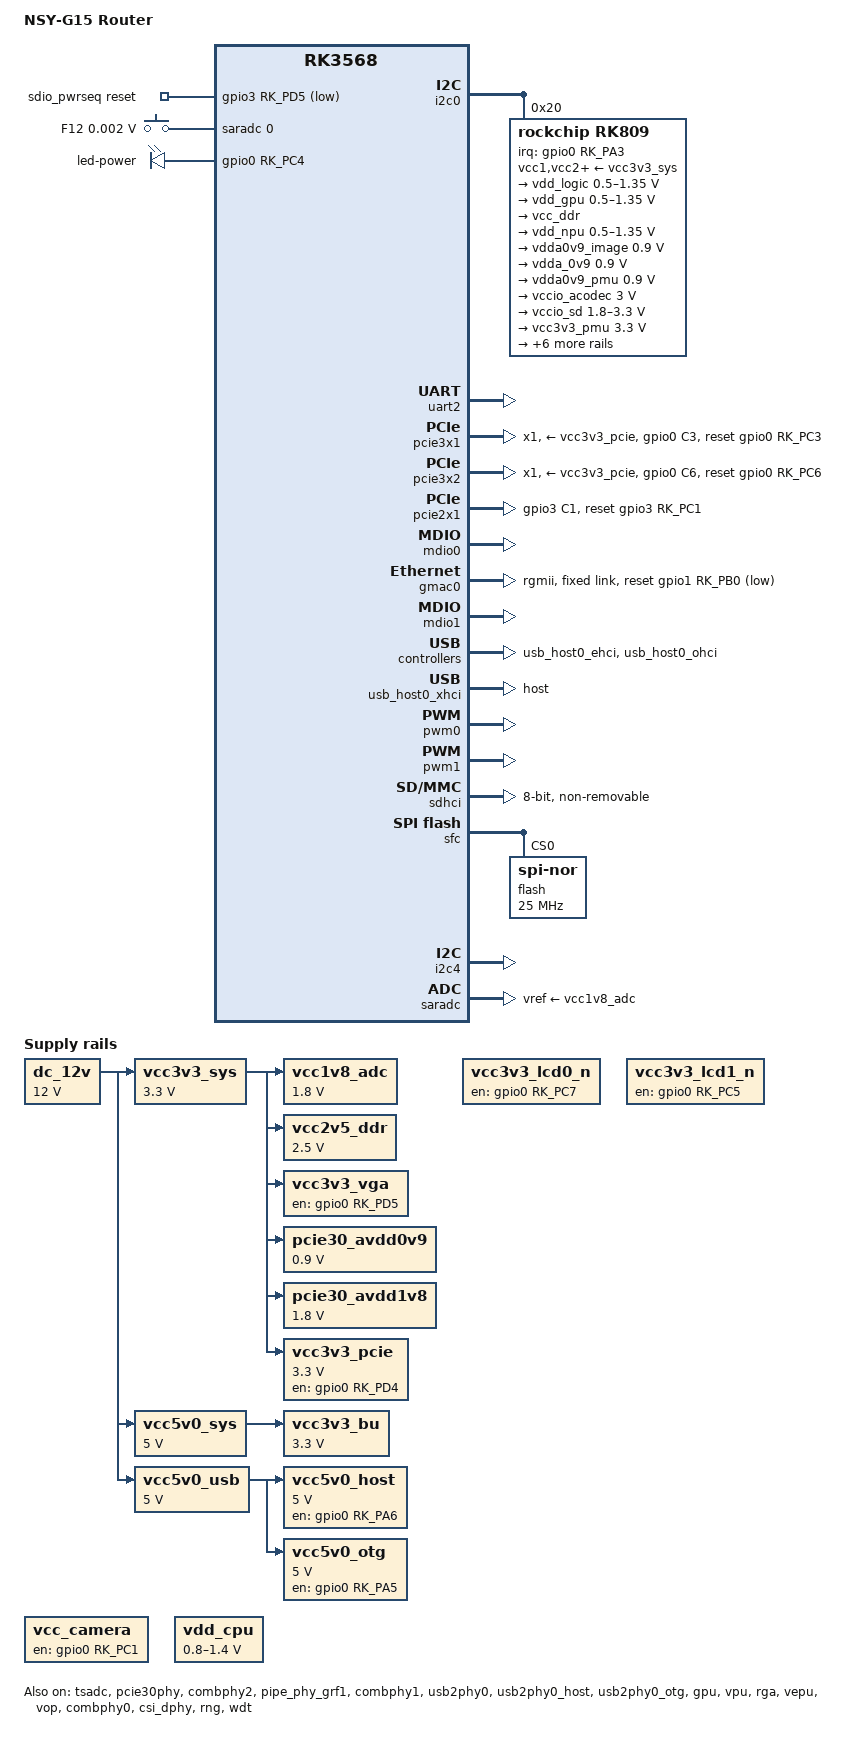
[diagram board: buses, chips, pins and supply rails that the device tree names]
// 开源协议声明：兼容 GPL-2.0 协议或 MIT 协议
// SPDX-License-Identifier: (GPL-2.0+ OR MIT)

// 声明设备树版本为 v1
/dts-v1/;

// 引入必要的设备树绑定头文件（定义GPIO、PWM、LED等常量和宏）
#include <dt-bindings/gpio/gpio.h>        // GPIO 相关常量（如 GPIO_ACTIVE_HIGH）
#include <dt-bindings/pwm/pwm.h>          // PWM 相关常量
#include <dt-bindings/leds/common.h>      // LED 相关常量
#include <dt-bindings/input/input.h>      // 输入设备（按键等）相关常量
#include <dt-bindings/soc/rockchip,vop2.h>// Rockchip VOP2 显示控制器相关常量
#include <dt-bindings/pinctrl/rockchip.h> // Rockchip 引脚控制相关常量
#include <rockchip/rk3568.dtsi>           // RK3568 芯片级通用设备树片段（核心外设默认配置）
#include "rk3568-ip.dtsi"                 // 板级通用设备树片段（NSY-G15 基础板配置）
#include "rk3568-ip-rk809.dtsi"           // RK809 PMIC 电源管理芯片板级配置
#include "rk3568-ramoops.dtsi"            // Ramoops 崩溃日志存储相关配置

/ {
	// 设备型号声明（内核识别设备名称）
	model = "NSY-G15 Router";
	// 兼容属性（优先匹配板级驱动，再匹配芯片级驱动）
	compatible = "nsy,g15", "rockchip,rk3568";

	// 设备别名（简化外设引用，方便内核和应用程序查找设备）
	aliases {
		ethernet0 = &gmac0;  // 以太网0 别名指向 gmac0 控制器
		ethernet1 = &gmac1;  // 以太网1 别名指向 gmac1 控制器
		mmc0 = &sdhci;       // MMC0 别名指向 sdhci（eMMC 控制器）
	};

	// 启动配置选择（指定系统控制台输出端口）
	chosen: chosen {
		// 标准输出路径：串口2，波特率1500000，无校验位，8位数据位
		stdout-path = "serial2:1500000n8";
	};

	// FIQ 调试器（快速中断调试，用于串口调试和系统故障排查）
	fiq-debugger {
		compatible = "rockchip,fiq-debugger";  // 兼容 Rockchip FIQ 调试器驱动
		rockchip,serial-id = <2>;              // 使用串口2（对应 UART2）
		rockchip,wake-irq = <0>;               // 唤醒中断号（0 表示禁用唤醒）
		/* If enable uart uses irq instead of fiq */
		rockchip,irq-mode-enable = <1>;        // 启用 IRQ 模式（而非 FIQ 模式）
		rockchip,baudrate = <1500000>;         // 串口波特率（仅支持 115200 和 1500000）
		interrupts = <GIC_SPI 252 IRQ_TYPE_LEVEL_LOW>;  // 中断配置：GIC SPI 252，低电平触发
		pinctrl-names = "default";             // 引脚配置名称（默认配置）
		pinctrl-0 = <&uart2m0_xfer>;           // 引用 UART2 传输引脚配置
		status = "okay";                       // 启用该设备
	};

	// 调试寄存器（映射 Rockchip 调试寄存器空间，用于硬件调试）
	debug: debug@fd904000 {
		compatible = "rockchip,debug";         // 兼容 Rockchip 调试驱动
		// 寄存器地址范围（4 个连续的 0x1000 空间）
		reg = <0x0 0xfd904000 0x0 0x1000>,
			<0x0 0xfd905000 0x0 0x1000>,
			<0x0 0xfd906000 0x0 0x1000>,
			<0x0 0xfd907000 0x0 0x1000>;
	};

	// 12V 直流输入电源（系统主输入电源，固定电压稳压源）
	dc_12v: dc-12v {
		compatible = "regulator-fixed";        // 兼容固定电压稳压源驱动
		regulator-name = "dc_12v";             // 稳压源名称（用于内核识别和日志输出）
		regulator-always-on;                   // 始终保持开启状态
		regulator-boot-on;                     // 系统启动时开启
		regulator-min-microvolt = <12000000>;  // 最小输出电压（12V，单位：微伏）
		regulator-max-microvolt = <12000000>;  // 最大输出电压（12V，固定电压）
	};

	// 3.3V 系统电源（由 12V 输入转换而来，供系统大部分外设使用）
	vcc3v3_sys: vcc3v3-sys {
		compatible = "regulator-fixed";
		regulator-name = "vcc3v3_sys";
		regulator-always-on;
		regulator-boot-on;
		regulator-min-microvolt = <3300000>;   // 3.3V 输出
		regulator-max-microvolt = <3300000>;
		vin-supply = <&dc_12v>;                // 输入电源依赖 12V 直流输入
	};

	// 5V 系统电源（由 12V 输入转换而来，供 USB、存储等外设使用）
	vcc5v0_sys: vcc5v0-sys {
		compatible = "regulator-fixed";
		regulator-name = "vcc5v0_sys";
		regulator-always-on;
		regulator-boot-on;
		regulator-min-microvolt = <5000000>;   // 5V 输出
		regulator-max-microvolt = <5000000>;
		vin-supply = <&dc_12v>;                // 输入电源依赖 12V 直流输入
	};

	// 5V USB 电源（供 USB 外设总电源，由 12V 输入转换）
	vcc5v0_usb: vcc5v0-usb {
		compatible = "regulator-fixed";
		regulator-name = "vcc5v0_usb";
		regulator-always-on;
		regulator-boot-on;
		regulator-min-microvolt = <5000000>;   // 5V 输出
		regulator-max-microvolt = <5000000>;
		vin-supply = <&dc_12v>;                // 输入电源依赖 12V 直流输入
	};

	// 5V USB 主机端口电源（带 GPIO 使能，供 USB 主机端口外设）
	vcc5v0_host: vcc5v0-host-regulator {
		compatible = "regulator-fixed";
		regulator-name = "vcc5v0_host";
		regulator-boot-on;
		regulator-always-on;
		regulator-min-microvolt = <5000000>;   // 5V 输出
		regulator-max-microvolt = <5000000>;
		enable-active-high;                    // 高电平使能该稳压源
		gpio = <&gpio0 RK_PA6 GPIO_ACTIVE_HIGH>; // 使能 GPIO：GPIO0 PA6，高电平有效
		vin-supply = <&vcc5v0_usb>;            // 输入电源依赖 5V USB 电源
		pinctrl-names = "default";             // 引脚配置名称（默认）
		pinctrl-0 = <&vcc5v0_host_en>;         // 引用 USB 主机电源使能引脚配置
	};

	// 5V USB OTG 端口电源（带 GPIO 使能，支持 USB OTG 模式）
	vcc5v0_otg: vcc5v0-otg-regulator {
		compatible = "regulator-fixed";
		regulator-name = "vcc5v0_otg";
		regulator-min-microvolt = <5000000>;   // 5V 输出
		regulator-max-microvolt = <5000000>;
		enable-active-high;                    // 高电平使能
		regulator-boot-on;
		regulator-always-on;
		gpio = <&gpio0 RK_PA5 GPIO_ACTIVE_HIGH>; // 使能 GPIO：GPIO0 PA5，高电平有效
		vin-supply = <&vcc5v0_usb>;            // 输入电源依赖 5V USB 电源
		pinctrl-names = "default";
		pinctrl-0 = <&vcc5v0_otg_en>;          // 引用 USB OTG 电源使能引脚配置
	};

	// 3.3V LCD0 电源（带 GPIO 使能，供第 0 路 LCD 显示屏使用）
	vcc3v3_lcd0_n: vcc3v3-lcd0-n {
		compatible = "regulator-fixed";
		regulator-name = "vcc3v3_lcd0_n";
		regulator-boot-on;                     // 启动时开启
		gpio = <&gpio0 RK_PC7 GPIO_ACTIVE_HIGH>; // 使能 GPIO：GPIO0 PC7，高电平有效
		enable-active-high;                    // 高电平使能
		pinctrl-0 = <&vcc3v3_lcd0_n_en>;       // 引用 LCD0 电源使能引脚配置
		pinctrl-names = "default";
		// 休眠状态配置（系统休眠时关闭该电源）
		regulator-state-mem {
			regulator-off-in-suspend;
		};
	};

	// 3.3V LCD1 电源（带 GPIO 使能，供第 1 路 LCD 显示屏使用）
	vcc3v3_lcd1_n: vcc3v3-lcd1-n {
		compatible = "regulator-fixed";
		regulator-name = "vcc3v3_lcd1_n";
		regulator-boot-on;
		gpio = <&gpio0 RK_PC5 GPIO_ACTIVE_HIGH>; // 使能 GPIO：GPIO0 PC5，高电平有效
		enable-active-high;
		pinctrl-0 = <&vcc3v3_lcd1_n_en>;       // 引用 LCD1 电源使能引脚配置
		pinctrl-names = "default";
		// 休眠状态配置（系统休眠时关闭该电源）
		regulator-state-mem {
			regulator-off-in-suspend;
		};
	};

	// SDIO 电源序列控制器（用于 WiFi/蓝牙等 SDIO 外设的电源时序控制）
	sdio_pwrseq: sdio-pwrseq {
		compatible = "mmc-pwrseq-simple";      // 兼容简易 MMC 电源序列驱动
		clocks = <&rk809 1>;                   // 外部时钟：RK809 PMIC 时钟 1
		clock-names = "ext_clock";             // 时钟名称（外部时钟）
		pinctrl-names = "default";
		pinctrl-0 = <&wifi_enable_h>;          // 引用 WiFi 使能引脚配置
		post-power-on-delay-ms = <200>;        // 电源开启后延时 200ms（保证外设稳定启动）
		reset-gpios = <&gpio3 RK_PD5 GPIO_ACTIVE_LOW>; // 复位 GPIO：GPIO3 PD5，低电平有效
	};

	// 1.8V ADC 电源（供 SARADC 模数转换器使用，固定电压）
	vcc1v8_adc: vcc1v8-adc {
		compatible = "regulator-fixed";
		regulator-name = "vcc1v8_adc";
		regulator-always-on;
		regulator-boot-on;
		regulator-min-microvolt = <1800000>;   // 1.8V 输出
		regulator-max-microvolt = <1800000>;
		vin-supply = <&vcc3v3_sys>;            // 输入电源依赖 3.3V 系统电源
	};

	// 2.5V DDR 电源（供 DDR 内存使用，固定电压）
	vcc2v5_ddr: vcc2v5-ddr {
		compatible = "regulator-fixed";
		regulator-name = "vcc2v5-sys";
		regulator-always-on;
		regulator-boot-on;
		regulator-min-microvolt = <2500000>;   // 2.5V 输出
		regulator-max-microvolt = <2500000>;
		vin-supply = <&vcc3v3_sys>;            // 输入电源依赖 3.3V 系统电源
	};

	// 3.3V VGA 电源（带 GPIO 使能，供 VGA 显示接口使用）
	vcc3v3_vga: vcc3v3-vga {
		compatible = "regulator-fixed";
		regulator-name = "vcc3v3_vga";
		regulator-always-on;
		regulator-boot-on;
		gpio = <&gpio0 RK_PD5 GPIO_ACTIVE_HIGH>; // 使能 GPIO：GPIO0 PD5，高电平有效
		pinctrl-0 = <&vcc3v3_vga_en>;          // 引用 VGA 电源使能引脚配置
		pinctrl-names = "default";
		enable-active-high;                    // 高电平使能
		vin-supply = <&vcc3v3_sys>;            // 输入电源依赖 3.3V 系统电源
	};

	// 0.9V PCIe 3.0 模拟电源（供 PCIe 3.0 控制器模拟电路使用）
	pcie30_avdd0v9: pcie30-avdd0v9 {
		compatible = "regulator-fixed";
		regulator-name = "pcie30_avdd0v9";
		regulator-always-on;
		regulator-boot-on;
		regulator-min-microvolt = <900000>;    // 0.9V 输出
		regulator-max-microvolt = <900000>;
		vin-supply = <&vcc3v3_sys>;            // 输入电源依赖 3.3V 系统电源
	};

	// 1.8V PCIe 3.0 模拟电源（供 PCIe 3.0 控制器模拟电路使用）
	pcie30_avdd1v8: pcie30-avdd1v8 {
		compatible = "regulator-fixed";
		regulator-name = "pcie30_avdd1v8";
		regulator-always-on;
		regulator-boot-on;
		regulator-min-microvolt = <1800000>;   // 1.8V 输出
		regulator-max-microvolt = <1800000>;
		vin-supply = <&vcc3v3_sys>;            // 输入电源依赖 3.3V 系统电源
	};

	// 3.3V PCIe 电源（带 GPIO 使能，供 PCIe 外设使用，带启动延时）
	vcc3v3_pcie: vcc3v3-pcie {
		compatible = "regulator-fixed";
		regulator-name = "vcc3v3_pcie";
		regulator-always-on;
		regulator-boot-on;
		regulator-min-microvolt = <3300000>;   // 3.3V 输出
		regulator-max-microvolt = <3300000>;
		enable-active-high;                    // 高电平使能
		gpio = <&gpio0 RK_PD4 GPIO_ACTIVE_HIGH>; // 使能 GPIO：GPIO0 PD4，高电平有效
		pinctrl-0 = <&vcc3v3_pcie_en>;         // 引用 PCIe 电源使能引脚配置
		pinctrl-names = "default";
		startup-delay-us = <5000>;             // 电源开启后延时 5000 微秒（5ms）
		vin-supply = <&vcc3v3_sys>;            // 输入电源依赖 3.3V 系统电源
	};

	// 3.3V 备用电源（供系统休眠/断电时的备用电路使用，节点名称存在笔误，不影响功能）
	vcc3v3_bu: c3v3_buvcc3v3-bu {
		compatible = "regulator-fixed";
		regulator-name = "vcc3v3_bu";
		regulator-always-on;
		regulator-boot-on;
		regulator-min-microvolt = <3300000>;   // 3.3V 输出
		regulator-max-microvolt = <3300000>;
		vin-supply = <&vcc5v0_sys>;            // 输入电源依赖 5V 系统电源
	};

	// 摄像头电源（带 GPIO 使能，供摄像头模块使用）
	vcc_camera: vcc-camera-regulator {
		compatible = "regulator-fixed";
		gpio = <&gpio0 RK_PC1 GPIO_ACTIVE_HIGH>; // 使能 GPIO：GPIO0 PC1，高电平有效
		pinctrl-names = "default";
		pinctrl-0 = <&camera_pwr>;             // 引用摄像头电源使能引脚配置
		regulator-name = "vcc_camera";
		enable-active-high;                    // 高电平使能
		regulator-always-on;
		regulator-boot-on;
	};

	// CPU 核心可调电源（通过 PWM 控制电压，实现 CPU 动态调压节能）
	vdd_cpu: vdd-cpu {
		compatible = "pwm-regulator";          // 兼容 PWM 可调稳压源驱动
		rockchip,pwm_id = <0>;                 // 使用 PWM0 控制器
		rockchip,pwm_voltage = <900000>;       // PWM 基准电压 0.9V
		pwms = <&pwm0 0 25000 1>;              // PWM 配置：PWM0，通道 0，周期 25000ns，高电平有效
		regulator-name = "vdd_cpu";            // 稳压源名称（CPU 核心电源）
		regulator-min-microvolt = <800000>;    // 最小输出电压 0.8V
		regulator-max-microvolt = <1400000>;   // 最大输出电压 1.4V
		regulator-init-microvolt = <1150000>;  // 初始输出电压 1.15V
		regulator-enable-ramp-delay = <300>;   // 使能时电压斜坡延时 300us
		regulator-ramp-delay = <8000>;         // 电压调整时斜坡延时 8000us
		regulator-always-on;                   // 始终开启（CPU 核心不可断电）
		regulator-boot-on;                     // 启动时开启
	};

	// XPCS 系统控制器（PCIe 扩展配置空间，当前禁用）
	xpcs: syscon@fda00000 {
		compatible = "rockchip,rk3568-xpcs", "syscon"; // 兼容 Rockchip XPCS 和系统控制器
		reg = <0x0 0xfda00000 0x0 0x200000>;   // 寄存器地址范围 0x200000
		status = "disabled";                   // 禁用该设备
	};

	// GMAC0 XPCS 固定时钟（125MHz，供 GMAC0 以太网控制器使用）
	gmac0_xpcsclk: xpcs-gmac0-clock {
		compatible = "fixed-clock";            // 兼容固定时钟驱动
		clock-frequency = <125000000>;         // 时钟频率 125MHz
		clock-output-names = "clk_gmac0_xpcs_mii"; // 时钟输出名称
		#clock-cells = <0>;                    // 时钟单元格数（0 表示无额外参数）
	};

	// GMAC1 XPCS 固定时钟（125MHz，供 GMAC1 以太网控制器使用）
	gmac1_xpcsclk: xpcs-gmac1-clock {
		compatible = "fixed-clock";
		clock-frequency = <125000000>;         // 时钟频率 125MHz
		clock-output-names = "clk_gmac1_xpcs_mii"; // 时钟输出名称
		#clock-cells = <0>;
	};

	// ADC 按键（通过 SARADC 检测模拟电压值，识别按键操作，此处为 F12 恢复按键）
	adc_keys: adc-keys {
		compatible = "adc-keys";               // 兼容 ADC 按键驱动
		io-channels = <&saradc 0>;             // 使用 SARADC 通道 0
		io-channel-names = "buttons";          // 通道名称（按键）
		keyup-threshold-microvolt = <1800000>; // 按键释放阈值 1.8V
		poll-interval = <100>;                 // 轮询间隔 100ms（检测按键状态）
		status = "okay";                       // 启用该设备
		// 恢复按键（F12）配置
		recovery-key {
			label = "F12";                      // 按键标签
			linux,code = <KEY_F12>;             // 内核按键编码（F12）
			press-threshold-microvolt = <1750>; // 按键按压阈值 1750uv（约 1.75mV，对应按键按下）
		};
	};

	// LED 控制器（GPIO 控制的 LED，此处为电源指示灯）
	leds {
		compatible = "gpio-leds";              // 兼容 GPIO 控制 LED 驱动
		// 电源 LED 配置
		led-power {
			label = "led-power";                // LED 标签（电源灯）
			default-state = "on";               // 默认状态（开启）
			gpios = <&gpio0 RK_PC4 GPIO_ACTIVE_HIGH>; // 控制 GPIO：GPIO0 PC4，高电平点亮
			pinctrl-names = "default";
			pinctrl-0 = <&led_power_en>;        // 引用 LED 电源使能引脚配置
		};
	};

	// Realtek RTL8367S 以太网交换芯片（路由器核心交换模块，实现多网口交换）
	rtlgsw@0 {
		compatible = "realtek,rtl8367s";       // 兼容 Realtek RTL8367S 驱动
		realtek,mdio = <&mdio0>;               // 关联 MDIO0 管理总线
		mii-bus = <&mdio0>;                    // 关联 MII 总线（网络接口总线）
		realtek,id = <29>;                     // 交换芯片 ID 29
		phy-id = <29>;                         // PHY 芯片 ID 29
		cpu_port = <7>;                        // CPU 连接端口 7（与 GMAC0 通信）

		// txdelay, rxdelay, mode, ability.force_mode, ability.txpause, ability.rxpause, ability.link, ability.duplex, speed
		//sgmii,
		realtek,extif1 = <0 0 11 1 1 1 1 1 2>; // 扩展接口 1 配置（SGMII 模式，1000M 全双工）
		//rgmii
		realtek,extif2 = <0 0 1 1 1 1 1 1 2>; // 扩展接口 2 配置（RGMII 模式，1000M 全双工）
		status = "okay";                       // 启用该交换芯片
	};
};

// 对 I2C0 控制器进行覆写配置（I2C0 用于连接 RK809 PMIC 芯片）
&i2c0 {
	status = "okay";                       // 启用 I2C0 控制器

	// RK809 PMIC 电源管理芯片（负责系统多通道稳压、时钟、电源按键等）
	rk809: pmic@20 {
		compatible = "rockchip,rk809";       // 兼容 Rockchip RK809 驱动
		reg = <0x20>;                        // I2C 设备地址 0x20
		interrupt-parent = <&gpio0>;         // 中断父控制器：GPIO0
		interrupts = <RK_PA3 IRQ_TYPE_LEVEL_LOW>; // 中断 GPIO：GPIO0 PA3，低电平触发
		// 引脚配置名称（默认、休眠、断电、复位）
		pinctrl-names = "default", "pmic-sleep", "pmic-power-off", "pmic-reset";
		pinctrl-0 = <&pmic_int>;             // 默认引脚配置（PMIC 中断）
		pinctrl-1 = <&soc_slppin_slp &rk817_slppin_slp>; // 休眠状态引脚配置
		pinctrl-2 = <&soc_slppin_gpio &rk817_slppin_pwrdn>; // 断电状态引脚配置
		pinctrl-3 = <&soc_slppin_gpio &rk817_slppin_rst>; // 复位状态引脚配置
		rockchip,system-power-controller;    // 作为系统电源控制器（负责开关机、休眠）
		wakeup-source;                       // 作为唤醒源（电源按键唤醒系统）
		#clock-cells = <1>;                  // 时钟单元格数（1 表示需要时钟索引）
		clock-output-names = "rk808-clkout1\0rk808-clkout2"; // 时钟输出名称
		pmic-reset-func = <0>;               // 复位功能配置（0 表示默认复位）
		not-save-power-en = <1>;             // 禁用省电模式
		// 各稳压通道输入电源依赖（均为 3.3V 系统电源）
		vcc1-supply = <&vcc3v3_sys>;
		vcc2-supply = <&vcc3v3_sys>;
		vcc3-supply = <&vcc3v3_sys>;
		vcc4-supply = <&vcc3v3_sys>;
		vcc5-supply = <&vcc3v3_sys>;
		vcc6-supply = <&vcc3v3_sys>;
		vcc7-supply = <&vcc3v3_sys>;
		vcc8-supply = <&vcc3v3_sys>;
		vcc9-supply = <&vcc3v3_sys>;

		// 电源按键（由 RK809 管理，用于开关机）
		pwrkey {
			status = "okay";                   // 启用电源按键
		};

		// RK809 引脚控制器（管理 PMIC 自身 GPIO 引脚）
		pinctrl_rk8xx: pinctrl_rk8xx {
			gpio-controller;                   // 声明为 GPIO 控制器
			#gpio-cells = <2>;                 // GPIO 单元格数（2：引脚号 + 标志）

			// GPIO 休眠引脚空配置
			rk817_slppin_null: rk817_slppin_null {
				pins = "gpio_slp";              // 引脚：休眠 GPIO
				function = "pin_fun0";          // 功能：默认功能 0
			};

			// GPIO 休眠引脚休眠配置
			rk817_slppin_slp: rk817_slppin_slp {
				pins = "gpio_slp";
				function = "pin_fun1";          // 功能：休眠功能 1
			};

			// GPIO 休眠引脚断电配置
			rk817_slppin_pwrdn: rk817_slppin_pwrdn {
				pins = "gpio_slp";
				function = "pin_fun2";          // 功能：断电功能 2
			};

			// GPIO 休眠引脚复位配置
			rk817_slppin_rst: rk817_slppin_rst {
				pins = "gpio_slp";
				function = "pin_fun3";          // 功能：复位功能 3
			};
		};

		// RK809 稳压通道配置（包含 DCDC、LDO、SWITCH 三种稳压类型）
		regulators {

			// DCDC_REG1：逻辑核心电源（供 CPU 周边逻辑电路）
			vdd_logic: DCDC_REG1 {
				regulator-always-on;
				regulator-boot-on;
				regulator-min-microvolt = <500000>;    // 最小 0.5V
				regulator-max-microvolt = <1350000>;   // 最大 1.35V
				regulator-init-microvolt = <900000>;   // 初始 0.9V
				regulator-ramp-delay = <6001>;         // 电压斜坡延时 6001us
				regulator-initial-mode = <2>;          // 初始工作模式 2（DCDC 高效模式）
				regulator-name = "vdd_logic";
				// 休眠状态：关闭电源
				regulator-state-mem {
					regulator-off-in-suspend;
				};
			};

			// DCDC_REG2：GPU 核心电源（供 Mali GPU 核心）
			vdd_gpu: DCDC_REG2 {
				regulator-always-on;
				regulator-boot-on;
				regulator-min-microvolt = <500000>;    // 最小 0.5V
				regulator-max-microvolt = <1350000>;   // 最大 1.35V
				regulator-init-microvolt = <1000000>;  // 初始 1.0V
				regulator-ramp-delay = <6001>;
				regulator-initial-mode = <2>;
				regulator-name = "vdd_gpu";
				// 休眠状态：关闭电源
				regulator-state-mem {
					regulator-off-in-suspend;
				};
			};

			// DCDC_REG3：DDR 内存电源（供 DDR 内存核心）
			vcc_ddr: DCDC_REG3 {
				regulator-always-on;
				regulator-boot-on;
				regulator-initial-mode = <2>;
				regulator-name = "vcc_ddr";
				// 休眠状态：保持开启（DDR 休眠时需保留数据）
				regulator-state-mem {
					regulator-on-in-suspend;
				};
			};

			// DCDC_REG4：NPU 核心电源（供神经网络处理单元核心）
			vdd_npu: DCDC_REG4 {
				regulator-always-on;
				regulator-boot-on;
				regulator-min-microvolt = <500000>;    // 最小 0.5V
				regulator-max-microvolt = <1350000>;   // 最大 1.35V
				regulator-init-microvolt = <1000000>;  // 初始 1.0V
				regulator-ramp-delay = <6001>;
				regulator-initial-mode = <2>;
				regulator-name = "vdd_npu";
				// 休眠状态：关闭电源
				regulator-state-mem {
					regulator-off-in-suspend;
				};
			};

			// LDO_REG1：0.9V 图像模拟电源（供图像处理模块模拟电路）
			vdda0v9_image: LDO_REG1 {
				regulator-boot-on;
				regulator-always-on;
				regulator-min-microvolt = <900000>;    // 固定 0.9V
				regulator-max-microvolt = <900000>;
				regulator-name = "vdda0v9_image";
				// 休眠状态：关闭电源
				regulator-state-mem {
					regulator-off-in-suspend;
				};
			};

			// LDO_REG2：0.9V 模拟电源（供系统通用模拟电路）
			vdda_0v9: LDO_REG2 {
				regulator-always-on;
				regulator-boot-on;
				regulator-min-microvolt = <900000>;    // 固定 0.9V
				regulator-max-microvolt = <900000>;
				regulator-name = "vdda_0v9";
				// 休眠状态：关闭电源
				regulator-state-mem {
					regulator-off-in-suspend;
				};
			};

			// LDO_REG3：0.9V PMIC 模拟电源（供 RK809 自身模拟电路）
			vdda0v9_pmu: LDO_REG3 {
				regulator-always-on;
				regulator-boot-on;
				regulator-min-microvolt = <900000>;    // 固定 0.9V
				regulator-max-microvolt = <900000>;
				regulator-name = "vdda0v9_pmu";
				// 休眠状态：保持开启（PMIC 自身需持续工作）
				regulator-state-mem {
					regulator-on-in-suspend;
					regulator-suspend-microvolt = <900000>;
				};
			};

			// LDO_REG4：3.0V 音频编解码电源（供 ACCODEC 音频模块）
			vccio_acodec: LDO_REG4 {
				regulator-always-on;
				regulator-boot-on;
				regulator-min-microvolt = <3000000>;   // 固定 3.0V
				regulator-max-microvolt = <3000000>;
				regulator-name = "vccio_acodec";
				// 休眠状态：关闭电源
				regulator-state-mem {
					regulator-off-in-suspend;
				};
			};

			// LDO_REG5：SD 卡 IO 电源（供 SD/MMC 卡接口 IO，支持 1.8V/3.3V 切换）
			vccio_sd: LDO_REG5 {
				regulator-always-on;
				regulator-boot-on;
				regulator-min-microvolt = <1800000>;   // 最小 1.8V
				regulator-max-microvolt = <3300000>;   // 最大 3.3V
				regulator-name = "vccio_sd";
				// 休眠状态：关闭电源
				regulator-state-mem {
					regulator-off-in-suspend;
				};
			};

			// LDO_REG6：3.3V PMIC 电源（供 RK809 自身数字电路）
			vcc3v3_pmu: LDO_REG6 {
				regulator-always-on;
				regulator-boot-on;
				regulator-min-microvolt = <3300000>;   // 固定 3.3V
				regulator-max-microvolt = <3300000>;
				regulator-name = "vcc3v3_pmu";
				// 休眠状态：保持开启（PMIC 自身需持续工作）
				regulator-state-mem {
					regulator-on-in-suspend;
					regulator-suspend-microvolt = <3300000>;
				};
			};

			// LDO_REG7：1.8V 模拟电源（供系统通用 1.8V 模拟电路）
			vcca_1v8: LDO_REG7 {
				regulator-always-on;
				regulator-boot-on;
				regulator-min-microvolt = <1800000>;   // 固定 1.8V
				regulator-max-microvolt = <1800000>;
				regulator-name = "vcca_1v8";
				// 休眠状态：关闭电源
				regulator-state-mem {
					regulator-off-in-suspend;
				};
			};

			// LDO_REG8：1.8V PMIC 模拟电源（供 RK809 自身 1.8V 模拟电路）
			vcca1v8_pmu: LDO_REG8 {
				regulator-always-on;
				regulator-boot-on;
				regulator-min-microvolt = <1800000>;   // 固定 1.8V
				regulator-max-microvolt = <1800000>;
				regulator-name = "vcca1v8_pmu";
				// 休眠状态：保持开启（PMIC 自身需持续工作）
				regulator-state-mem {
					regulator-on-in-suspend;
					regulator-suspend-microvolt = <1800000>;
				};
			};

			// LDO_REG9：1.8V 图像模拟电源（供图像处理模块 1.8V 模拟电路）
			vcca1v8_image: LDO_REG9 {
				regulator-always-on;
				regulator-boot-on;
				regulator-min-microvolt = <1800000>;   // 固定 1.8V
				regulator-max-microvolt = <1800000>;
				regulator-name = "vcca1v8_image";
				// 休眠状态：关闭电源
				regulator-state-mem {
					regulator-off-in-suspend;
				};
			};

			// DCDC_REG5：1.8V 系统电源（供系统通用 1.8V 数字电路）
			vcc_1v8: DCDC_REG5 {
				regulator-always-on;
				regulator-boot-on;
				regulator-min-microvolt = <1800000>;   // 固定 1.8V
				regulator-max-microvolt = <1800000>;
				regulator-name = "vcc_1v8";
				// 休眠状态：关闭电源
				regulator-state-mem {
					regulator-off-in-suspend;
				};
			};

			// SWITCH_REG1：3.3V 开关电源（供系统通用 3.3V 外设）
			vcc_3v3: SWITCH_REG1 {
				regulator-always-on;
				regulator-boot-on;
				regulator-name = "vcc_3v3";
				// 休眠状态：关闭电源
				regulator-state-mem {
					regulator-off-in-suspend;
				};
			};

			// SWITCH_REG2：3.3V SD 卡电源（供 SD/MMC 卡供电）
			vcc3v3_sd: SWITCH_REG2 {
				regulator-always-on;
				regulator-boot-on;
				regulator-name = "vcc3v3_sd";
				// 休眠状态：关闭电源
				regulator-state-mem {
					regulator-off-in-suspend;
				};
			};
		};
	};
};

// 对引脚控制器（pinctrl）进行覆写配置（定义各类外设的引脚复用和电气特性）
&pinctrl {
	// USB 相关引脚配置
	usb {
		// USB 主机端口电源使能引脚
		vcc5v0_host_en: vcc5v0-host-en {
			// Rockchip 引脚格式：<bank pin function config>
			// GPIO0 PA6，GPIO 功能，无上下拉
			rockchip,pins = <0 RK_PA6 RK_FUNC_GPIO &pcfg_pull_none>;
		};
		
		// USB OTG 端口电源使能引脚
		vcc5v0_otg_en: vcc5v0-otg-en {
			// GPIO0 PA5，GPIO 功能，无上下拉
			rockchip,pins = <0 RK_PA5 RK_FUNC_GPIO &pcfg_pull_none>;
		};
	};

	// 稳压源使能相关引脚配置
	regulator-en {
		// LCD0 电源使能引脚
		vcc3v3_lcd0_n_en: vcc3v3-lcd0-n-en {
			rockchip,pins = <0 RK_PC7 RK_FUNC_GPIO &pcfg_pull_none>;
		};
		// LCD1 电源使能引脚
		vcc3v3_lcd1_n_en: vcc3v3-lcd1-n-en {
			rockchip,pins = <0 RK_PC5 RK_FUNC_GPIO &pcfg_pull_none>;
		};
		// VGA 电源使能引脚
		vcc3v3_vga_en: vcc3v3-vga-en {
			rockchip,pins = <0 RK_PD5 RK_FUNC_GPIO &pcfg_pull_none>;
		};
		// 摄像头电源使能引脚
		camera_pwr: camera-pwr {
			rockchip,pins = <0 RK_PC1 RK_FUNC_GPIO &pcfg_pull_none>;
		};
		// PCIe 电源使能引脚
		vcc3v3_pcie_en: vcc3v3-pcie-en {
			rockchip,pins = <0 RK_PD4 RK_FUNC_GPIO &pcfg_pull_none>;
		};
	};

	// SDIO 电源序列相关引脚配置
	sdio-pwrseq {
		// WiFi 使能引脚
		wifi_enable_h: wifi-enable-h {
			rockchip,pins = <3 RK_PD5 RK_FUNC_GPIO &pcfg_pull_none>;
		};
	};

	// PMIC 相关引脚配置
	pmic {
		// PMIC 中断引脚
		pmic_int: pmic-intl {
			rockchip,pins = <0 RK_PA3 RK_FUNC_GPIO &pcfg_pull_up>; // 上拉配置
		};
	
		// SOC 休眠 GPIO 引脚
		soc_slppin_gpio: soc-slppin-gpio {
			rockchip,pins = <0 RK_PA2 0 &pcfg_output_low>; // 输出低电平
		};
	
		// SOC 休眠引脚（休眠模式）
		soc_slppin_slp:soc-slppin-slp {
			rockchip,pins = <0 RK_PA2 1 &pcfg_pull_none>;
		};
	
		// SOC 休眠引脚（复位模式）
		soc_slppin_rst {
			rockchip,pins = <0 RK_PA2 2 &pcfg_pull_none>;
		};
	};

	// PCIe 相关引脚配置
	pcie {
		// PCIe 3.0 x1 复位引脚
		pcie30x1_reset_h: pcie30x1-reset-h {
			rockchip,pins = <0 RK_PC3 RK_FUNC_GPIO &pcfg_pull_none>;
		};
		// PCIe 3.0 x2 复位引脚
		pcie30x2_reset_h: pcie30x2-reset-h {
			rockchip,pins = <0 RK_PC6 RK_FUNC_GPIO &pcfg_pull_none>;
		};
		// PCIe 2.0 x1 复位引脚
		pcie2x1_reset_h: pcie2x1-reset-h {
			rockchip,pins = <3 RK_PC1 RK_FUNC_GPIO &pcfg_pull_none>;
		};
	};

	// GMAC 以太网复位相关引脚配置
	gmac-reset {
		// GMAC0 复位引脚
		gmac0_reset: gmac0-reset {
			rockchip,pins = <1 RK_PB0 RK_FUNC_GPIO &pcfg_pull_none>;
		};
		// GMAC1 复位引脚
		gmac1_reset: gmac1-reset {
			rockchip,pins = <1 RK_PB1 RK_FUNC_GPIO &pcfg_pull_none>;
		};
	};

	// LED 相关引脚配置
	leds {
		// 电源 LED 使能引脚
		led_power_en: led-power-en {
			rockchip,pins = <0 RK_PC4 RK_FUNC_GPIO &pcfg_pull_none>;
		};
	};
};

// CPU0 核心电源配置（关联 CPU 可调电源）
&cpu0 {
	cpu-supply = <&vdd_cpu>;
};

// CPU1 核心电源配置
&cpu1 {
	cpu-supply = <&vdd_cpu>;
};

// CPU2 核心电源配置
&cpu2 {
	cpu-supply = <&vdd_cpu>;
};

// CPU3 核心电源配置
&cpu3 {
	cpu-supply = <&vdd_cpu>;
};

// 温度传感器（TSADC，用于 CPU/GPU 温度检测和过热保护）
&tsadc {
	rockchip,hw-tshut-mode = <1>;        // 硬件关机模式 1（过热自动关机）
	rockchip,hw-tshut-polarity = <0>;    // 过热触发极性 0（低电平触发）
	status = "okay";                     // 启用温度传感器
};

// UART2 串口（系统控制台，对应 FIQ 调试器）
&uart2 {
	status = "okay";                     // 启用 UART2
};

// PCIe 3.0 PHY 全局寄存器（无额外配置，保持默认）
&pcie30_phy_grf {
};

// 注意两条 pcie reset gpio 均与 NSY不同
// fe270000
// 这里需要更换uboot版本,因为只有支持的pcie拆分的才能启动这个
// 不然开启就挂死,更换版本:https://github.com/Kwiboo/u-boot-rockchip
// https://lists.denx.de/pipermail/u-boot/2023-August/525793.html
// 这个pcie,可能需要打补丁,使用radxa 版本
// PCIe 3.0 x1 控制器（单通道，用于外接 PCIe 外设）
&pcie3x1 {
	vpcie3v3-supply = <&vcc3v3_pcie>;    // 电源依赖 3.3V PCIe 电源
	reset-gpios = <&gpio0 RK_PC3 GPIO_ACTIVE_HIGH>; // 复位 GPIO：GPIO0 PC3，高电平有效
	num-lanes = <0x1>;                   // 通道数 1（单通道）
	pinctrl-0 = <&pcie30x1_reset_h>;     // 引用 PCIe 3.0 x1 复位引脚配置
	status = "okay";                     // 启用 PCIe 3.0 x1
};

// fe280000
// PCIe 3.0 x2 控制器（单通道，用于外接 PCIe 外设）
&pcie3x2 {
	vpcie3v3-supply = <&vcc3v3_pcie>;    // 电源依赖 3.3V PCIe 电源
	reset-gpios = <&gpio0 RK_PC6 GPIO_ACTIVE_HIGH>; // 复位 GPIO：GPIO0 PC6，高电平有效
	status = "okay";                     // 启用 PCIe 3.0 x2
	num-lanes = <0x1>;                   // 通道数 1（单通道）
	pinctrl-0 = <&pcie30x2_reset_h>;     // 引用 PCIe 3.0 x2 复位引脚配置
};

// PCIe 3.0 PHY 控制器（管理 PCIe 3.0 物理层）
&pcie30phy {
	data-lanes = <1 2>;                  // 配置数据通道 1、2（对应 pcie3x1、pcie3x2）
	status = "okay";                     // 启用 PCIe 3.0 PHY
};

// 组合 PHY 2（用于 PCIe 3.0 物理层转换）
&combphy2 {
	status = "okay";                     // 启用组合 PHY 2
};

// PCIe 2.0 x1 控制器（单通道，用于外接 PCIe 外设，带复位延时）
&pcie2x1 {
	reset-gpios = <&gpio3 RK_PC1 GPIO_ACTIVE_HIGH>; // 复位 GPIO：GPIO3 PC1，高电平有效
	pinctrl-0 = <&pcie2x1_reset_h>;     // 引用 PCIe 2.0 x1 复位引脚配置
	rockchip,perst-inactive-ms = <500>; // 复位无效延时 500ms（保证外设稳定启动）
	status = "okay";                     // 启用 PCIe 2.0 x1
};

// MDIO0 管理总线（用于以太网 PHY/交换芯片管理）
&mdio0 {
	status = "okay";                     // 启用 MDIO0
};

// GMAC0 以太网控制器（主以太网口，连接 RTL8367S 交换芯片）
&gmac0 {
	status = "okay";                     // 启用 GMAC0
	phy-mode = "rgmii";                  // PHY 接口模式：RGMII（千兆以太网接口）
	snps,reset-gpio = <&gpio1 RK_PB0 GPIO_ACTIVE_LOW>; // 复位 GPIO：GPIO1 PB0，低电平有效
	snps,reset-active-low;               // 复位低电平有效
	snps,reset-delays-us = <0 20000 100000>; // 复位延时：0us 等待，20000us 复位，100000us 恢复
	assigned-clocks = <&cru SCLK_GMAC0_RX_TX &cru SCLK_GMAC0>; // 关联时钟
	assigned-clock-parents = <&cru SCLK_GMAC0_RGMII_SPEED>; // 时钟父节点
	assigned-clock-rates = <0 125000000>; // 时钟频率 125MHz
	tx_delay = <0x3f>;                   // 发送延时校准 0x3f
	rx_delay = <0x2c>;                   // 接收延时校准 0x2c
	clock_in_out = "output";             // 时钟输出模式
	pinctrl-names = "default";
	// 引用 GMAC0 相关引脚配置（MIIM、TX/RX 总线、RGMII 时钟/总线）
	pinctrl-0 = <&gmac0_miim &gmac0_tx_bus2 &gmac0_rx_bus2 &gmac0_rgmii_clk &gmac0_rgmii_bus>;
	// 固定链路配置（与交换芯片直连，无外部 PHY）
	fixed-link {
		speed = <1000>;                   // 链路速度 1000M
		full-duplex;                      // 全双工模式
	};
};

// MDIO1 管理总线（用于 GMAC1 以太网 PHY 管理，当前启用但未使用）
&mdio1 {
	status = "okay";                     // 启用 MDIO1
};

// PIPE PHY 全局寄存器 1（用于 GMAC1 物理层配置）
&pipe_phy_grf1 {
	status = "okay";                     // 启用 PIPE PHY 全局寄存器 1
};

// 组合 PHY 1（用于 GMAC1 SGMII 物理层转换）
&combphy1 {
	rockchip,sgmii-mac-sel = <1>;        // 选择 SGMII MAC 1（对应 GMAC1）
	status = "okay";                     // 启用组合 PHY 1
};

// XPCS 控制器（当前禁用，GMAC1 未启用）
&xpcs {
	status = "disabled";                 // 禁用 XPCS 控制器
};

// GMAC1 以太网控制器（备用以太网口，当前禁用）
&gmac1 {
	status = "disabled";                 // 禁用 GMAC1
	phy-mode = "sgmii";                  // PHY 接口模式：SGMII（串行千兆以太网接口）
	rockchip,pipegrf = <&pipegrf>;       // 关联 PIPE PHY 全局寄存器
	rockchip,xpcs = <&xpcs>;             // 关联 XPCS 控制器
	assigned-clocks = <&cru SCLK_GMAC1_RX_TX>; // 关联时钟
	assigned-clock-parents = <&gmac1_xpcsclk>; // 时钟父节点（125MHz 固定时钟）
	pinctrl-names = "default";
	pinctrl-0 = <&gmac1m1_miim>;         // 引用 GMAC1 MIIM 引脚配置
	power-domains = <&power RK3568_PD_PIPE>; // 关联电源域（PIPE 域）
	phys = <&combphy1 PHY_TYPE_SGMII>;   // 关联物理层（组合 PHY 1，SGMII 类型）
	// 固定链路配置（预留 1000M 全双工）
	fixed-link {
		speed = <1000>;
		full-duplex;
	};
};

// USB 主机 0 EHCI 控制器（USB 2.0 高速主机控制器）
&usb_host0_ehci {
	status = "okay";                     // 启用 USB 主机 0 EHCI
};

// USB 主机 0 OHCI 控制器（USB 1.1 低速主机控制器，带兼容性补丁）
&usb_host0_ohci {
	status = "okay";                     // 启用 USB 主机 0 OHCI
	// 一系列 USB 兼容性补丁（禁用部分高级功能，提升兼容性）
	snps,dis_enblslpm_quirk;
	snps,dis-u1-entry-quirk;
	snps,dis-u2-entry-quirk;
	snps,dis-u2-freeclk-exists-quirk;
	snps,dis-del-phy-power-chg-quirk;
	snps,dis-tx-ipgap-linecheck-quirk;
	snps,dis_rxdet_inp3_quirk;
	snps,xhci-trb-ent-quirk;
	snps,parkmode-disable-ss-quirk;
	quirk-skip-phy-init;
};

// USB 主机 0 XHCI 控制器（USB 3.0 超高速主机控制器，强制主机模式）
&usb_host0_xhci {
	dr_mode = "host";                    // 强制 USB 主机模式
	status = "okay";                     // 启用 USB 主机 0 XHCI
	extcon = <&usb2phy0>;                // 关联 USB2PHY0 物理层
	// 一系列 USB 兼容性补丁
	snps,dis_enblslpm_quirk;
	snps,dis-u1-entry-quirk;
	snps,dis-u2-entry-quirk;
	snps,dis-u2-freeclk-exists-quirk;
	snps,dis-del-phy-power-chg-quirk;
	snps,dis-tx-ipgap-linecheck-quirk;
	snps,dis_rxdet_inp3_quirk;
	snps,xhci-trb-ent-quirk;
	snps,parkmode-disable-ss-quirk;
	quirk-skip-phy-init;
};

// USB 主机 1 EHCI 控制器（当前禁用）
&usb_host1_ehci {
	status = "disabled";                 // 禁用 USB 主机 1 EHCI
};

// USB 主机 1 OHCI 控制器（当前禁用）
&usb_host1_ohci {
	status = "disabled";                 // 禁用 USB 主机 1 OHCI
};

// USB 主机 1 XHCI 控制器（当前禁用，预留主机模式配置）
&usb_host1_xhci {
	dr_mode = "host";                    // 强制 USB 主机模式
	// 一系列 USB 兼容性补丁
	snps,dis_enblslpm_quirk;
	snps,dis-u2-freeclk-exists-quirk;
	snps,dis-del-phy-power-chg-quirk;
	snps,dis-tx-ipgap-linecheck-quirk;
	snps,dis_rxdet_inp3_quirk;
	snps,xhci-trb-ent-quirk;
	snps,parkmode-disable-ss-quirk;
	status = "disabled";                 // 禁用 USB 主机 1 XHCI
};

// USB2PHY0 物理层控制器（USB 2.0 物理层，用于 USB 主机 0/OTG）
&usb2phy0 {
	status = "okay";                     // 启用 USB2PHY0
};

// USB2PHY0 主机模式物理层（供 USB 主机 0 使用）
&usb2phy0_host {
	phy-supply = <&vcc5v0_host>;         // 电源依赖 5V USB 主机电源
	status = "okay";                     // 启用 USB2PHY0 主机模式
};

// USB2PHY0 OTG 模式物理层（供 USB OTG 使用）
&usb2phy0_otg {
	phy-supply = <&vcc5v0_otg>;          // 电源依赖 5V USB OTG 电源
	status = "okay";                     // 启用 USB2PHY0 OTG 模式
};

// USB2PHY1 物理层控制器（当前禁用）
&usb2phy1 {
	status = "disabled";                 // 禁用 USB2PHY1
};

// USB2PHY1 主机模式物理层（当前禁用）
&usb2phy1_host {
	phy-supply = <&vcc5v0_host>;         // 电源依赖 5V USB 主机电源
	status = "disabled";                 // 禁用 USB2PHY1 主机模式
};

// USB2PHY1 OTG 模式物理层（当前禁用）
&usb2phy1_otg {
	phy-supply = <&vcc5v0_host>;         // 电源依赖 5V USB 主机电源
	status = "disabled";                 // 禁用 USB2PHY1 OTG 模式
};

// SATA2 控制器（串口硬盘控制器，当前禁用）
&sata2 {
	status = "disabled";                 // 禁用 SATA2
};

// PMU IO 域控制器（管理 PMIC 相关 IO 电压域）
&pmu_io_domains {
	status = "okay";                     // 启用 PMU IO 域
	pmuio2-supply = <&vcc3v3_pmu>;       // PMU IO2 电源依赖 3.3V PMIC 电源
	vccio1-supply = <&vcc_3v3>;          // VCCIO1 电源依赖 3.3V 开关电源
	vccio3-supply = <&vcc_3v3>;          // VCCIO3 电源依赖 3.3V 开关电源
	vccio4-supply = <&vcc_3v3>;          // VCCIO4 电源依赖 3.3V 开关电源
	vccio5-supply = <&vcc_3v3>;          // VCCIO5 电源依赖 3.3V 开关电源
	vccio6-supply = <&vcc_3v3>;          // VCCIO6 电源依赖 3.3V 开关电源
	vccio7-supply = <&vcc_3v3>;          // VCCIO7 电源依赖 3.3V 开关电源
};

// PWM0 控制器（用于 CPU 核心调压，已启用）
&pwm0 {
	status = "okay";                     // 启用 PWM0
};

// PWM1 控制器（预留，已启用）
&pwm1 {
	status = "okay";                     // 启用 PWM1
};

// PWM2 控制器（当前禁用，拼写错误，应为 disabled）
&pwm2 {
	status = "disable";                  // 禁用 PWM2
};

// PWM3 控制器（当前禁用，拼写错误，应为 disabled）
&pwm3 {
	status = "disable";                  // 禁用 PWM3
};

// 电源域控制器（管理系统各模块电源域）
&power {
	status = "okay";                     // 启用电源域控制器
};

// GPU 控制器（Mali GPU，图形处理单元）
&gpu {
	mali-supply = <&vdd_gpu>;            // 电源依赖 GPU 核心电源
	status = "okay";                     // 启用 GPU
};

// VPU 控制器（视频处理单元，用于视频解码）
&vpu {
	status = "okay";                     // 启用 VPU
};

// RGA 控制器（图形加速单元，用于 2D 图形处理）
&rga {
	status = "okay";                     // 启用 RGA
};

// VEPU 控制器（视频编码单元，用于视频编码）
&vepu {
	status = "okay";                     // 启用 VEPU
};

// VOP 控制器（视频输出处理器，用于显示输出）
&vop {
	status = "okay";                     // 启用 VOP
};

// sdhci 控制器（eMMC 控制器，地址 fe310000）
&sdhci {
	max-frequency = <200000000>;         // 最大时钟频率 200MHz
	bus-width = <8>;                     // 总线宽度 8 位（eMMC 标准）
	no-sdio;                             // 禁用 SDIO 模式
	no-sd;                               // 禁用 SD 卡模式
	supports-emmc;                       // 支持 eMMC 设备
	non-removable;                       // 不可移除（eMMC 焊接在板上）
	mmc-hs200-1_8v;                      // 支持 HS200 模式，1.8V 供电
	pinctrl-names = "default";
	// 引用 eMMC 相关引脚配置（8 位总线、时钟、命令、数据选通）
	pinctrl-0 = <&emmc_bus8 &emmc_clk &emmc_cmd &emmc_datastrobe>;
	status = "okay";                     // 启用 eMMC 控制器
};

// sdmmc2 控制器（SDIO 控制器，地址 fe000000，当前禁用）
&sdmmc2 {
	max-frequency = <150000000>;         // 最大时钟频率 150MHz
	fifo-depth = <256>;                  // FIFO 深度 256 字节
	no-sd;                               // 禁用 SD 卡模式
	no-mmc;                              // 禁用 MMC 模式
	bus-width = <4>;                     // 总线宽度 4 位
	disable-wp;                          // 禁用写保护
	cap-sd-highspeed;                    // 支持 SD 高速模式
	cap-sdio-irq;                        // 支持 SDIO 中断
	keep-power-in-suspend;               // 休眠时保持电源
	sd-uhs-sdr104;                       // 支持 UHS SDR104 模式
	mmc-pwrseq = <&sdio_pwrseq>;         // 关联 SDIO 电源序列控制器
	non-removable;                       // 不可移除（WiFi/蓝牙模块）
	pinctrl-names = "default";
	// 引用 SDMMC2 相关引脚配置（4 位总线、命令、时钟）
	pinctrl-0 = <&sdmmc2m0_bus4 &sdmmc2m0_cmd &sdmmc2m0_clk>;
	status = "disabled";                 // 禁用 SDMMC2
};

// sdmmc0 控制器（SD/MMC 控制器，地址 fe2b0000，当前禁用）
&sdmmc0 {
	max-frequency = <150000000>;         // 最大时钟频率 150MHz
	fifo-depth = <256>;                  // FIFO 深度 256 字节
	no-sdio;                             // 禁用 SDIO 模式
	bus-width = <4>;                     // 总线宽度 4 位
	cap-mmc-highspeed;                   // 支持 MMC 高速模式
	cap-sd-highspeed;                    // 支持 SD 高速模式
	disable-wp;                          // 禁用写保护
	sd-uhs-sdr104;                       // 支持 UHS SDR104 模式
	vmmc-supply = <&vcc3v3_sd>;          // 电源依赖 3.3V SD 卡电源
	vqmmc-supply = <&vccio_sd>;          // IO 电源依赖 SD 卡 IO 电源
	pinctrl-names = "default";
	// 引用 SDMMC0 相关引脚配置（4 位总线、时钟、命令、检测）
	pinctrl-0 = <&sdmmc0_bus4 &sdmmc0_clk &sdmmc0_cmd &sdmmc0_det>;
	status = "disabled";                 // 禁用 SDMMC0
};

// 组合 PHY 0（用于 USB/SATA 物理层转换，已启用）
&combphy0 {
	status = "okay";                     // 启用组合 PHY 0
};

// CSI DPHY 控制器（摄像头串行接口物理层，已启用）
&csi_dphy {
	status = "okay";                     // 启用 CSI DPHY
};

// SFC 控制器（串行闪存控制器，用于 SPI NOR 闪存）
&sfc {
	status = "okay";                     // 启用 SFC 控制器

	// SPI NOR 闪存（挂载在 SFC 总线上）
	flash@0 {
		compatible = "spi-nor";            // 兼容 SPI NOR 闪存驱动
		reg = <0>;                         // SPI 设备地址 0
		spi-max-frequency = <25000000>;    // 最大 SPI 频率 25MHz
		spi-rx-bus-width = <4>;            // 接收总线宽度 4 位（QPI 模式）
		spi-tx-bus-width = <1>;            // 发送总线宽度 1 位
	};
};

// RNG 控制器（硬件随机数发生器，用于加密运算）
&rng {
	status = "okay";                     // 启用 RNG 控制器
};

// i2c1 控制器（I2C 总线 1，地址 fe5a0000，当前禁用）
&i2c1 {
	status = "disabled";                 // 禁用 I2C1
};

// i2c4 控制器（I2C 总线 4，已启用）
&i2c4 {
	status = "okay";                     // 启用 I2C4
};

// i2c5 控制器（I2C 总线 5，当前禁用）
&i2c5 {
	status = "disabled";                 // 禁用 I2C5
};

// WDT 控制器（硬件看门狗，用于系统故障自动重启）
&wdt {
	status = "okay";                     // 启用硬件看门狗
};

// uart8 串口（UART 总线 8，当前禁用）
&uart8 {
	status = "disabled";                 // 禁用 UART8
};

// pwm4 控制器（当前禁用）
&pwm4 {
	status = "disabled";                 // 禁用 PWM4
};

// pwm5 控制器（当前禁用）
&pwm5 {
	status = "disabled";                 // 禁用 PWM5
};

// pwm7 控制器（当前禁用）
&pwm7 {
	status = "disabled";                 // 禁用 PWM7
};

// pwm8 控制器（当前禁用）
&pwm8 {
	status = "disabled";                 // 禁用 PWM8
};

// pwm9 控制器（当前禁用）
&pwm9 {
	status = "disabled";                 // 禁用 PWM9
};

// saradc 控制器（逐次逼近模数转换器，地址 fe720000）
&saradc {
	status = "okay";                     // 启用 SARADC
	vref-supply = <&vcc1v8_adc>;         // 参考电压依赖 1.8V ADC 电源
};
